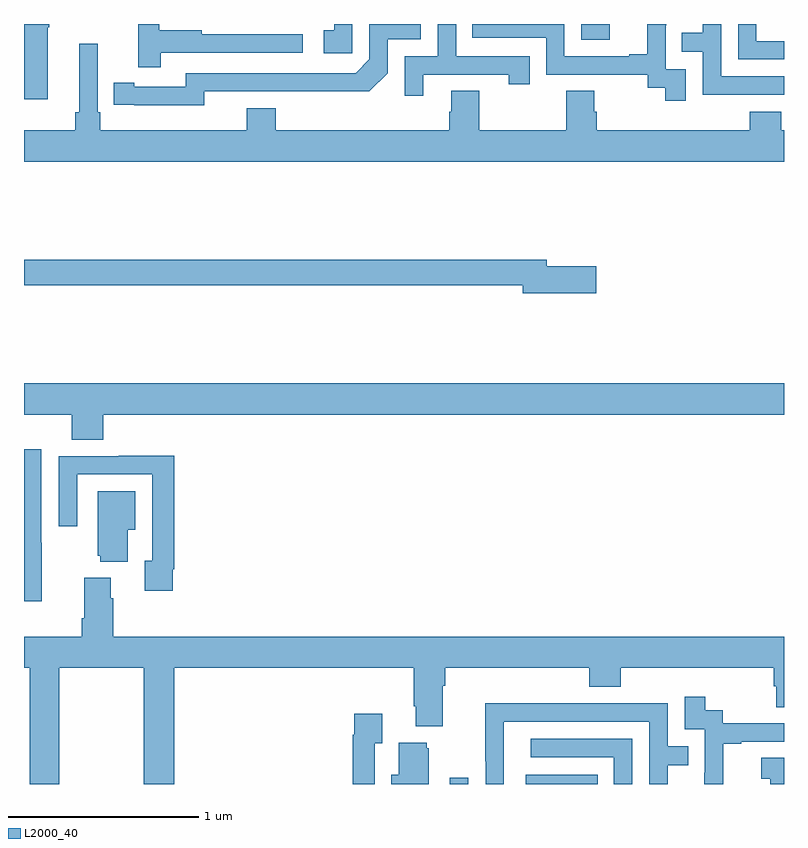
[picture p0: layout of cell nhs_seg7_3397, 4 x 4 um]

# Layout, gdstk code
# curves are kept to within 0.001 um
import gdstk
lib = gdstk.Library(unit=1e-6, precision=1e-09)
def R(c, l, rs):  # rectangles x0, y0, x1, y1
    for r in rs: c.add(gdstk.rectangle(r[:2], r[2:], *l))
def P(c, l, *ps):  # polygons
    for p in ps: c.add(gdstk.Polygon(p, *l))
L2000_40 = (2000, 40)

nhs_seg7_3397 = lib.new_cell('nhs_seg7_3397')
R(nhs_seg7_3397, L2000_40, [(329.241,1004,329.337,1004.032), (329.642,1004,330.02,1004.05), (329.934,1007.916,330.082,1008)])
P(nhs_seg7_3397, L2000_40, [(327.948,1007.646),(328.816,1007.645),(328.914,1007.742),(328.914,1007.919),(329.088,1007.919),(329.088,1008),(328.818,1008),(328.818,1007.814),(328.746,1007.742),(327.852,1007.742),(327.852,1007.67),(327.58,1007.67),(327.58,1007.69),(327.472,1007.69),(327.472,1007.574),(327.948,1007.573)],
  [(327.124,1007.983),(327.132,1007.983),(327.132,1008),(327,1008),(327,1007.604),(327.124,1007.604)],
  [(327.719,1007.85),(328.468,1007.85),(328.468,1007.946),(327.935,1007.946),(327.935,1007.966),(327.712,1007.966),(327.712,1008),(327.602,1008),(327.602,1007.772),(327.719,1007.772)],
  [(328.728,1008),(328.632,1008),(328.632,1007.966),(328.578,1007.966),(328.578,1007.847),(328.728,1007.847)],
  [(331,1007.724),(330.669,1007.724),(330.669,1008),(330.573,1008),(330.573,1007.954),(330.463,1007.954),(330.463,1007.853),(330.573,1007.853),(330.573,1007.628),(331,1007.628)],
  [(329.101,1007.733),(329.552,1007.733),(329.552,1007.682),(329.663,1007.682),(329.663,1007.829),(329.274,1007.829),(329.274,1008),(329.178,1008),(329.178,1007.829),(329.004,1007.829),(329.004,1007.622),(329.101,1007.622)],
  [(330.483,1007.763),(330.378,1007.763),(330.378,1007.993),(330.38,1007.993),(330.38,1008),(330.281,1008),(330.281,1007.842),(330.185,1007.842),(330.185,1007.829),(329.844,1007.829),(329.844,1008),(329.359,1008),(329.359,1007.928),(329.748,1007.928),(329.748,1007.733),(330.282,1007.733),(330.282,1007.665),(330.375,1007.665),(330.375,1007.595),(330.483,1007.595)],
  [(331,1007.91),(330.855,1007.91),(330.855,1008),(330.759,1008),(330.759,1007.814),(331,1007.814)],
  [(331,1007.44),(330.986,1007.44),(330.986,1007.539),(330.821,1007.539),(330.821,1007.44),(330.014,1007.44),(330.014,1007.538),(330.001,1007.538),(330.001,1007.648),(329.854,1007.648),(329.854,1007.44),(329.397,1007.44),(329.397,1007.648),(329.249,1007.648),(329.249,1007.538),(329.237,1007.538),(329.237,1007.44),(328.325,1007.44),(328.325,1007.557),(328.172,1007.557),(328.172,1007.44),(327.401,1007.44),(327.401,1007.536),(327.387,1007.536),(327.387,1007.896),(327.29,1007.896),(327.29,1007.536),(327.271,1007.536),(327.271,1007.44),(327,1007.44),(327,1007.276),(331,1007.276)],
  [(330.013,1006.724),(329.752,1006.724),(329.752,1006.76),(327,1006.76),(327,1006.624),(329.624,1006.624),(329.624,1006.582),(330.013,1006.582)],
  [(327.416,1005.944),(331,1005.944),(331,1006.108),(327,1006.108),(327,1005.944),(327.251,1005.944),(327.251,1005.811),(327.416,1005.811)],
  [(327.093,1005.269),(327.09,1005.269),(327.09,1005.763),(327,1005.763),(327,1004.963),(327.093,1004.963)],
  [(327.784,1005.13),(327.791,1005.13),(327.791,1005.728),(327.499,1005.728),(327.499,1005.726),(327.183,1005.726),(327.183,1005.357),(327.279,1005.357),(327.279,1005.63),(327.675,1005.63),(327.675,1005.174),(327.635,1005.174),(327.635,1005.018),(327.784,1005.018)],
  [(327.547,1005.338),(327.586,1005.338),(327.586,1005.541),(327.389,1005.541),(327.389,1005.201),(327.401,1005.201),(327.401,1005.17),(327.547,1005.17)],
  [(327.186,1004.612),(327.631,1004.612),(327.631,1004),(327.791,1004),(327.791,1004.612),(329.051,1004.612),(329.051,1004.41),(329.063,1004.41),(329.063,1004.303),(329.203,1004.303),(329.203,1004.516),(329.216,1004.516),(329.216,1004.612),(329.975,1004.612),(329.975,1004.513),(330.14,1004.513),(330.14,1004.612),(330.947,1004.612),(330.947,1004.514),(330.959,1004.514),(330.959,1004.404),(331,1004.404),(331,1004.776),(327.47,1004.776),(327.47,1004.978),(327.457,1004.978),(327.457,1005.085),(327.317,1005.085),(327.317,1004.872),(327.305,1004.872),(327.305,1004.776),(327,1004.776),(327,1004.612),(327.031,1004.612),(327.031,1004),(327.186,1004)],
  [(330.68,1004.211),(330.775,1004.211),(330.775,1004.223),(331,1004.223),(331,1004.319),(330.678,1004.319),(330.678,1004.388),(330.586,1004.388),(330.586,1004.458),(330.477,1004.458),(330.477,1004.289),(330.582,1004.289),(330.582,1004.06),(330.581,1004.06),(330.581,1004),(330.68,1004)],
  [(329.526,1004.328),(330.291,1004.328),(330.291,1004),(330.387,1004),(330.387,1004.098),(330.497,1004.098),(330.497,1004.199),(330.387,1004.199),(330.387,1004.424),(329.891,1004.424),(329.891,1004.426),(329.428,1004.426),(329.428,1004.119),(329.43,1004.119),(329.43,1004),(329.526,1004)],
  [(328.845,1004.215),(328.885,1004.215),(328.885,1004.371),(328.737,1004.371),(328.737,1004.258),(328.729,1004.258),(328.729,1004),(328.845,1004)],
  [(330.201,1004.238),(329.667,1004.238),(329.667,1004.142),(330.105,1004.142),(330.105,1004),(330.201,1004)],
  [(329.131,1004.187),(329.12,1004.187),(329.12,1004.218),(328.973,1004.218),(328.973,1004.05),(328.934,1004.05),(328.934,1004),(329.131,1004)],
  [(331,1004.137),(330.879,1004.137),(330.879,1004.027),(330.928,1004.027),(330.928,1004),(331,1004)])

lib.write_gds('nhs_seg7_3397.gds')
